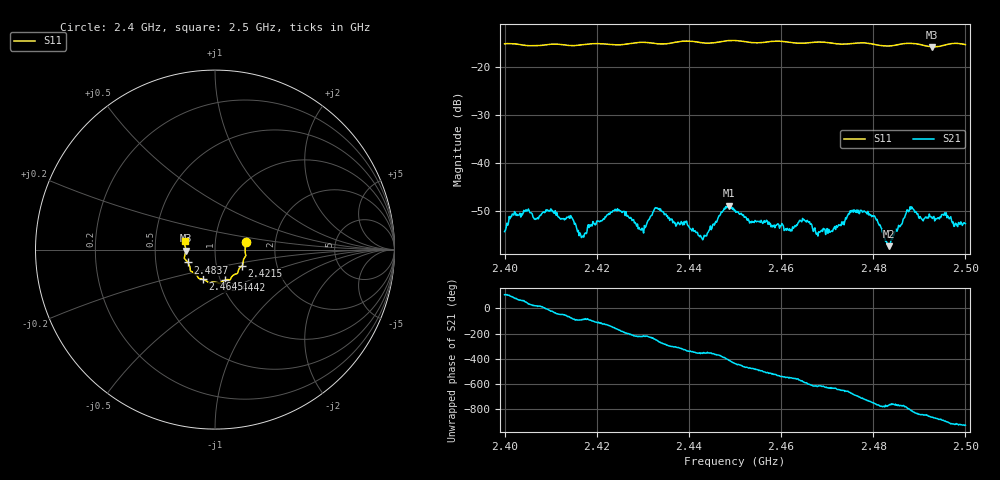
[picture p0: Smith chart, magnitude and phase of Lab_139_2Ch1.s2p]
# Hz S RI R 50
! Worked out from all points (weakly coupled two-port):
!   601 points, 2.4 GHz to 2.5 GHz, reference 50 ohm
!   highest |S21| = -48.95 dB at 2.4487 GHz (marker M1); lowest = -57.4 dB at 2.4835 GHz (marker M2)
!   lowest |S11| = -15.7 dB at 2.4928 GHz (marker M3), VSWR 1.39, Z = 36 - j0.373 ohm
!   |S11| at or under -10 dB: start of sweep to end of sweep
!   S12 and S22 are empty: the file has one direction only
!   S11 on the Smith chart (normalised r, x): 2.4 GHz: 1.41, +0.12; 2.4215 GHz: 1.33, -0.25; 2.4442 GHz: 1.05, -0.37; 2.4645 GHz: 0.83, -0.29; 2.4837 GHz: 0.73, -0.11; 2.5 GHz: 0.71, +0.07
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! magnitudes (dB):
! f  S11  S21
! 2.4 GHz  -15.1  -54.4
! 2.4018 GHz  -15.1  -50.8
! 2.4097 GHz  -15.2  -50.0
! 2.4167 GHz  -15.3  -55.6
! 2.4215 GHz  -15.1  -51.7
! 2.4248 GHz  -15.3  -49.8
! 2.4297 GHz  -14.8  -54.0
! 2.4333 GHz  -15.1  -49.7
! 2.4442 GHz  -15.0  -54.5
! 2.4487 GHz  -14.4  -48.9
! 2.45 GHz  -14.4  -49.9
! 2.4612 GHz  -14.7  -54.1
! 2.4645 GHz  -15.0  -52.3
! 2.4667 GHz  -14.8  -53.0
! 2.4707 GHz  -14.9  -54.5
! 2.4777 GHz  -14.9  -50.3
! 2.4833 GHz  -15.6  -57.1
! 2.4835 GHz  -15.5  -57.4
! 2.4837 GHz  -15.5  -57.0
! 2.4878 GHz  -15.0  -50.0
! 2.4928 GHz  -15.7  -51.7
! 2.5 GHz  -15.3  -52.7
